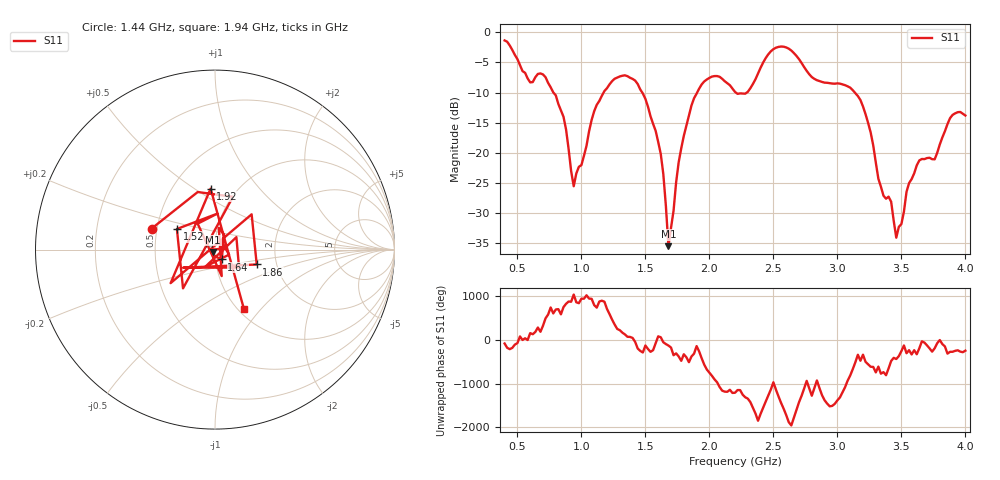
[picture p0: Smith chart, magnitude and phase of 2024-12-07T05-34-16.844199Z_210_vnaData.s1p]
!Created with skrf (http://scikit-rf.org).
# Hz S RI R 50.0
!freq ReS11 ImS11
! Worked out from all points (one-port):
!   181 points, 400 MHz to 4 GHz, reference 50 ohm
!   lowest |S11| = -35.5 dB at 1.68 GHz (marker M1), VSWR 1.03, Z = 48.9 - j1.25 ohm
!   |S11| at or under -10 dB: 781 MHz to 1.174 GHz (392.5 MHz wide, 40.2 % of centre); 1.475 GHz to 1.904 GHz (429.1 MHz wide, 25.4 % of centre); 3.136 GHz to end of sweep (the widest 3 of 4)
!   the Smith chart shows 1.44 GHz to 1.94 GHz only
!   S11 on the Smith chart (normalised r, x): 1.44 GHz: 0.47, +0.13; 1.52 GHz: 0.64, +0.15; 1.64 GHz: 1.07, -0.12; 1.86 GHz: 1.58, -0.28; 1.92 GHz: 0.76, +0.58; 1.94 GHz: 1.06, -0.82
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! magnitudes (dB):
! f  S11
! 400 MHz  -1.4
! 600 MHz  -8.3
! 720 MHz  -7.5
! 860 MHz  -14.0
! 940 MHz  -25.6
! 1.12 GHz  -12.0
! 1.3 GHz  -7.3
! 1.44 GHz  -8.6
! 1.52 GHz  -12.3
! 1.64 GHz  -23.6
! 1.68 GHz  -35.5
! 1.76 GHz  -21.6
! 1.86 GHz  -12.2
! 1.92 GHz  -9.3
! 1.94 GHz  -8.6
! 2.2 GHz  -9.9
! 2.3 GHz  -9.9
! 2.5 GHz  -2.8
! 2.66 GHz  -3.4
! 3.1 GHz  -9.2
! 3.22 GHz  -13.6
! 3.32 GHz  -24.3
! 3.42 GHz  -28.1
! 3.46 GHz  -34.1
! 3.56 GHz  -25.0
! 3.76 GHz  -21.1
! 3.9 GHz  -13.7
! 4 GHz  -13.8
